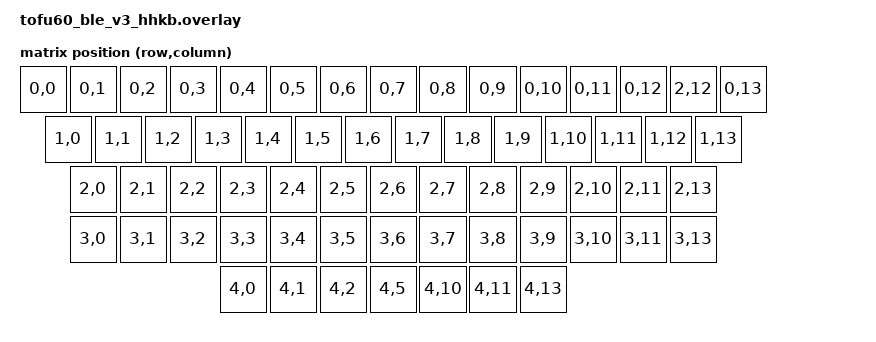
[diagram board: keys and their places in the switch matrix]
/*
 * Dedicated HHKB matrix using the vendor-tested split Backspace,
 * 1.75U right Shift, and 7U bottom-row wiring.
 */
#include <dt-bindings/zmk/matrix_transform.h>
#include <physical_layouts.dtsi>
#include "common.overlay"

#define ROW0_FIXED <&key_physical_attrs 100 100 0 0 0 0 0> \
                 , <&key_physical_attrs 100 100 100 0 0 0 0> \
                 , <&key_physical_attrs 100 100 200 0 0 0 0> \
                 , <&key_physical_attrs 100 100 300 0 0 0 0> \
                 , <&key_physical_attrs 100 100 400 0 0 0 0> \
                 , <&key_physical_attrs 100 100 500 0 0 0 0> \
                 , <&key_physical_attrs 100 100 600 0 0 0 0> \
                 , <&key_physical_attrs 100 100 700 0 0 0 0> \
                 , <&key_physical_attrs 100 100 800 0 0 0 0> \
                 , <&key_physical_attrs 100 100 900 0 0 0 0> \
                 , <&key_physical_attrs 100 100 1000 0 0 0 0> \
                 , <&key_physical_attrs 100 100 1100 0 0 0 0> \
                 , <&key_physical_attrs 100 100 1200 0 0 0 0>

#define ROW0_BS_1U <&key_physical_attrs 100 100 1300 0 0 0 0> \
                  , <&key_physical_attrs 100 100 1400 0 0 0 0>

#define ROW1_FIXED <&key_physical_attrs 150 100 0 100 0 0 0> \
                 , <&key_physical_attrs 100 100 150 100 0 0 0> \
                 , <&key_physical_attrs 100 100 250 100 0 0 0> \
                 , <&key_physical_attrs 100 100 350 100 0 0 0> \
                 , <&key_physical_attrs 100 100 450 100 0 0 0> \
                 , <&key_physical_attrs 100 100 550 100 0 0 0> \
                 , <&key_physical_attrs 100 100 650 100 0 0 0> \
                 , <&key_physical_attrs 100 100 750 100 0 0 0> \
                 , <&key_physical_attrs 100 100 850 100 0 0 0> \
                 , <&key_physical_attrs 100 100 950 100 0 0 0> \
                 , <&key_physical_attrs 100 100 1050 100 0 0 0> \
                 , <&key_physical_attrs 100 100 1150 100 0 0 0> \
                 , <&key_physical_attrs 100 100 1250 100 0 0 0>

#define ROW1_ANSI <&key_physical_attrs 150 100 1350 100 0 0 0>

#define ROW2_FIXED <&key_physical_attrs 175 100 0 200 0 0 0> \
                 , <&key_physical_attrs 100 100 175 200 0 0 0> \
                 , <&key_physical_attrs 100 100 275 200 0 0 0> \
                 , <&key_physical_attrs 100 100 375 200 0 0 0> \
                 , <&key_physical_attrs 100 100 475 200 0 0 0> \
                 , <&key_physical_attrs 100 100 575 200 0 0 0> \
                 , <&key_physical_attrs 100 100 675 200 0 0 0> \
                 , <&key_physical_attrs 100 100 775 200 0 0 0> \
                 , <&key_physical_attrs 100 100 875 200 0 0 0> \
                 , <&key_physical_attrs 100 100 975 200 0 0 0> \
                 , <&key_physical_attrs 100 100 1075 200 0 0 0> \
                 , <&key_physical_attrs 100 100 1175 200 0 0 0>

#define ROW2_ANSI <&key_physical_attrs 225 100 1275 200 0 0 0>

#define ROW3_ANSI <&key_physical_attrs 225 100 0 300 0 0 0>

#define ROW3_FIXED <&key_physical_attrs 100 100 225 300 0 0 0> \
                 , <&key_physical_attrs 100 100 325 300 0 0 0> \
                 , <&key_physical_attrs 100 100 425 300 0 0 0> \
                 , <&key_physical_attrs 100 100 525 300 0 0 0> \
                 , <&key_physical_attrs 100 100 625 300 0 0 0> \
                 , <&key_physical_attrs 100 100 725 300 0 0 0> \
                 , <&key_physical_attrs 100 100 825 300 0 0 0> \
                 , <&key_physical_attrs 100 100 925 300 0 0 0> \
                 , <&key_physical_attrs 100 100 1025 300 0 0 0> \
                 , <&key_physical_attrs 100 100 1125 300 0 0 0>

#define ROW3_RSFT_175U <&key_physical_attrs 175 100 1225 300 0 0 0> \
                      , <&key_physical_attrs 100 100 1400 300 0 0 0>

#define SPC_7U <&key_physical_attrs 150 100 0 400 0 0 0> \
              , <&key_physical_attrs 100 100 150 400 0 0 0> \
              , <&key_physical_attrs 150 100 250 400 0 0 0> \
              , <&key_physical_attrs 700 100 400 400 0 0 0> \
              , <&key_physical_attrs 150 100 1100 400 0 0 0> \
              , <&key_physical_attrs 100 100 1250 400 0 0 0> \
              , <&key_physical_attrs 150 100 1350 400 0 0 0>

/ {
    hhkb_transform: hhkb_transform {
        compatible = "zmk,matrix-transform";
        rows = <5>;
        columns = <14>;
        map = <
RC(0,0) RC(0,1) RC(0,2) RC(0,3) RC(0,4) RC(0,5) RC(0,6) RC(0,7) RC(0,8) RC(0,9) RC(0,10) RC(0,11) RC(0,12) RC(2,12) RC(0,13)
RC(1,0)   RC(1,1) RC(1,2) RC(1,3) RC(1,4) RC(1,5) RC(1,6) RC(1,7) RC(1,8) RC(1,9) RC(1,10) RC(1,11) RC(1,12)   RC(1,13)
RC(2,0)     RC(2,1) RC(2,2) RC(2,3) RC(2,4) RC(2,5) RC(2,6) RC(2,7) RC(2,8) RC(2,9) RC(2,10) RC(2,11)        RC(2,13)
RC(3,0)               RC(3,1) RC(3,2) RC(3,3) RC(3,4) RC(3,5) RC(3,6) RC(3,7) RC(3,8) RC(3,9)    RC(3,10)      RC(3,11) RC(3,13)
RC(4,0)   RC(4,1)   RC(4,2)                      RC(4,5)                                      RC(4,10)   RC(4,11)   RC(4,13)
        >;
    };

    hhkb_layout: hhkb_layout {
        compatible = "zmk,physical-layout";
        display-name = "HHKB";
        transform = <&hhkb_transform>;

        keys = ROW0_FIXED, ROW0_BS_1U,
               ROW1_FIXED, ROW1_ANSI,
               ROW2_FIXED, ROW2_ANSI,
               ROW3_ANSI, ROW3_FIXED, ROW3_RSFT_175U,
               SPC_7U;
    };

    chosen {
        zmk,physical-layout = &hhkb_layout;
    };
};
